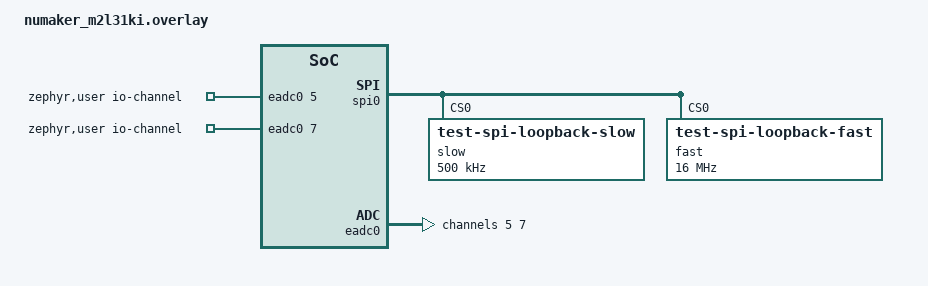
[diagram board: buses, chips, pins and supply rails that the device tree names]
/* SPDX-License-Identifier: Apache-2.0 */

&pinctrl {
	/* EVB's NU5: SS/CLK/MISO/MOSI */
	spi0_default: spi0_default {
		group0 {
			pinmux = <PD3MFP_SPI0_SS>,
				 <PD2MFP_SPI0_CLK>,
				 <PD1MFP_SPI0_MISO>,
				 <PD0MFP_SPI0_MOSI>;
		};
	};
};

&gpioa {
	status = "okay";
};

&spi0 {
	slow@0 {
		compatible = "test-spi-loopback-slow";
		reg = <0>;
		spi-max-frequency = <500000>;
	};

	fast@0 {
		compatible = "test-spi-loopback-fast";
		reg = <0>;
		spi-max-frequency = <16000000>;
	};

	status = "okay";
	pinctrl-0 = <&spi0_default>;
	pinctrl-names = "default";
};

/ {
	zephyr,user {
		io-channels = <&eadc0 5>, <&eadc0 7>;
	};
};

&pinctrl {
	eadc0_default: eadc0_default {
		group0 {
			pinmux = <PB5MFP_EADC0_CH5>, <PB7MFP_EADC0_CH7>;
		};
	};
};

&eadc0 {
	status = "okay";
	pinctrl-0 = <&eadc0_default>;
	pinctrl-names = "default";
	#address-cells = <1>;
	#size-cells = <0>;
	channel@5 {
		reg = <5>;
		zephyr,gain = "ADC_GAIN_1";
		zephyr,reference = "ADC_REF_INTERNAL";
		zephyr,acquisition-time = <ADC_ACQ_TIME_DEFAULT>;
		zephyr,resolution = <10>;
	};
	channel@7 {
		reg = <7>;
		zephyr,gain = "ADC_GAIN_1";
		zephyr,reference = "ADC_REF_INTERNAL";
		zephyr,acquisition-time = <ADC_ACQ_TIME_DEFAULT>;
		zephyr,resolution = <10>;
	};
};
